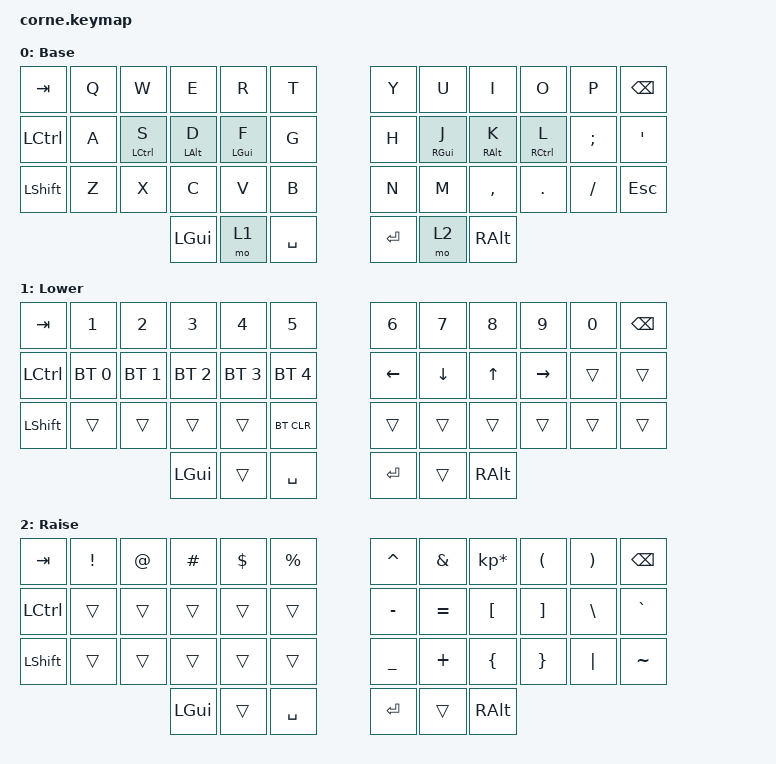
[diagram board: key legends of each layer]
/*
 * Copyright (c) 2020 The ZMK Contributors
 *
 * SPDX-License-Identifier: MIT
 */

#include <behaviors.dtsi>
#include <dt-bindings/zmk/keys.h>
#include <dt-bindings/zmk/bt.h>

/ {
        behaviors {
                mth: mth {
                        compatible = "zmk,behavior-hold-tap";
                        #binding-cells = <2>;
                        tapping-term-ms = <200>;
                        flavor = "balanced";
                        bindings = <&kp>, <&kp>;
                };
        };

        keymap {
                compatible = "zmk,keymap";

                default_layer {
// -----------------------------------------------------------------------------------------
// |  TAB |  Q  |  W  |  E  |  R  |  T  |   |  Y  |  U   |  I  |  O  |  P  | BKSP |
// | CTRL |  A  |  S  |  D  |  F  |  G  |   |  H  |  J   |  K  |  L  |  ;  |  '   |
// | SHFT |  Z  |  X  |  C  |  V  |  B  |   |  N  |  M   |  ,  |  .  |  /  | ESC  |
//                    | GUI | LWR | SPC |   | ENT | RSE  | ALT |
                        display-name = "Base";
                        bindings = <
   &kp TAB   &kp Q &kp W       &kp E      &kp R      &kp T       &kp Y   &kp U       &kp I       &kp O        &kp P    &kp BSPC
   &kp LCTRL &kp A &mth LCTRL S &mth LALT D &mth LGUI F &kp G       &kp H   &mth RGUI J  &mth RALT K  &mth RCTRL L  &kp SEMI &kp SQT
   &kp LSHFT &kp Z &kp X       &kp C      &kp V      &kp B       &kp N   &kp M       &kp COMMA   &kp DOT      &kp FSLH &kp ESC
                               &kp LGUI   &mo 1      &kp SPACE   &kp RET &mo 2       &kp RALT
                        >;
                };
                lower_layer {
// -----------------------------------------------------------------------------------------
// |  TAB |  1  |  2  |  3  |  4  |  5  |   |  6  |  7  |  8  |  9  |  0  | BKSP |
// | BTCLR| BT1 | BT2 | BT3 | BT4 | BT5 |   | LFT | DWN |  UP | RGT |     |      |
// | SHFT |     |     |     |     |     |   |     |     |     |     |     |      |
//                    | GUI |     | SPC |   | ENT |     | ALT |
                        display-name = "Lower";
                        bindings = <
   &kp TAB    &kp N1       &kp N2       &kp N3       &kp N4       &kp N5         &kp N6   &kp N7   &kp N8 &kp N9    &kp N0 &kp BSPC
   &kp LCTRL  &bt BT_SEL 0 &bt BT_SEL 1 &bt BT_SEL 2 &bt BT_SEL 3 &bt BT_SEL 4   &kp LEFT &kp DOWN &kp UP &kp RIGHT &trans &trans
   &kp LSHFT  &trans       &trans       &trans       &trans       &bt BT_CLR     &trans   &trans   &trans &trans    &trans &trans
                          	        &kp LGUI     &trans       &kp SPACE      &kp RET  &trans   &kp RALT
                        >;
                };

                raise_layer {
// -----------------------------------------------------------------------------------------
// |  TAB |  !  |  @  |  #  |  $  |  %  |   |  ^  |  &  |  *  |  (  |  )  | BKSP |
// | CTRL |     |     |     |     |     |   |  -  |  =  |  [  |  ]  |  \  |  `   |
// | SHFT |     |     |     |     |     |   |  _  |  +  |  {  |  }  | "|" |  ~   |
//                    | GUI |     | SPC |   | ENT |     | ALT |
                        display-name = "Raise";
                        bindings = <
   &kp  TAB  &kp EXCL &kp AT &kp HASH &kp DLLR &kp PRCNT   &kp CARET &kp AMPS  &kp KP_MULTIPLY &kp LPAR &kp RPAR &kp BSPC
   &kp LCTRL &trans   &trans &trans   &trans   &trans      &kp MINUS &kp EQUAL &kp LBKT        &kp RBKT &kp BSLH &kp GRAVE
   &kp LSHFT &trans   &trans &trans   &trans   &trans      &kp UNDER &kp PLUS  &kp LBRC        &kp RBRC &kp PIPE &kp TILDE
                    	     &kp LGUI &trans   &kp SPACE   &kp RET   &trans    &kp RALT
                        >;
                };

                extra_1 {
                        status = "reserved";
                };

                extra_2 {
                        status = "reserved";
                };

                extra_3 {
                        status = "reserved";
                };
        };
};
